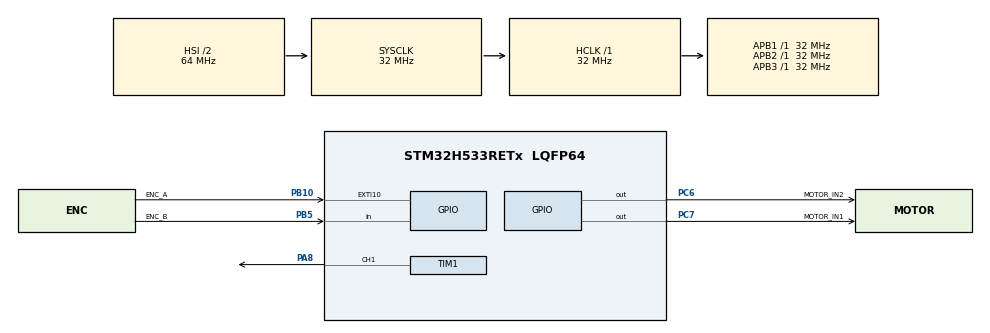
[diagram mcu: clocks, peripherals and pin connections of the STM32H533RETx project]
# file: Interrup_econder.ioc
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BOOTPATH.BootPathName=LEGACY
BOOTPATH.UserSelectedBootPath=LEGACY
CORTEX_M33_NS.Number-Cortex_Memory_Protection_Unit_Region0_OTP_RO_AREAS_Settings=MPU_REGION_NUMBER0
CORTEX_M33_NS.default_mode_Activation=1
CORTEX_M33_NS.userName=CORTEX_M33
Mcu.Family=STM32H5
Mcu.Name=STM32H533RETx
Mcu.Package=LQFP64
NUCLEO-H533RE.BUTTON=1
NUCLEO-H533RE.LD4=true
NUCLEO-H533RE.VCP=true
NVIC.EXTI10_IRQn=true\:0\:0\:false\:false\:true\:true\:true\:true
NVIC.EXTI13_IRQn=true\:0\:0\:false\:false\:true\:false\:true\:true
NVIC.PriorityGroup=NVIC_PRIORITYGROUP_4
NVIC.TIM6_IRQn=true\:0\:0\:false\:false\:true\:true\:true\:true
PA13(JTMS/SWDIO).GPIO_Label=SWDIO
PA13(JTMS/SWDIO).Signal=DEBUG_JTMS-SWDIO
PA14(JTCK/SWCLK).GPIO_Label=SWCLK
PA14(JTCK/SWCLK).Signal=DEBUG_JTCK-SWCLK
PA15(JTDI).GPIO_Label=JTDI
PA15(JTDI).Signal=DEBUG_JTDI
PA2.Signal=USART2_TX
PA3.Signal=USART2_RX
PA8.Signal=S_TIM1_CH1
PB10.GPIO_Label=ENC_A
PB10.GPIO_ModeDefaultEXTI=GPIO_MODE_IT_RISING_FALLING
PB10.Signal=GPXTI10
PB3(JTDO/TRACESWO).GPIO_Label=SWO
PB3(JTDO/TRACESWO).Signal=DEBUG_JTDO-SWO
PB5.GPIO_Label=ENC_B
PB5.GPIO_PuPd=GPIO_NOPULL
PB5.Signal=GPIO_Input
PC6.GPIO_Label=MOTOR_IN2
PC6.Signal=GPIO_Output
PC7.GPIO_Label=MOTOR_IN1
PC7.GPIO_PuPd=GPIO_NOPULL
PC7.Signal=GPIO_Output
ProjectManager.HeapSize=0x200
ProjectManager.StackSize=0x400
ProjectManager.TargetToolchain=CMake
RCC.ADCFreq_Value=32000000
RCC.AHBFreq_Value=32000000
RCC.APB1Freq_Value=32000000
RCC.APB1TimFreq_Value=32000000
RCC.APB2Freq_Value=32000000
RCC.APB2TimFreq_Value=32000000
RCC.APB3Freq_Value=32000000
RCC.CSI_VALUE=4000000
RCC.CortexFreq_Value=32000000
RCC.EPOD_VALUE=4000000
RCC.HCLKFreq_Value=32000000
RCC.HSE_VALUE=25000000
RCC.HSI48_VALUE=48000000
RCC.HSI_VALUE=64000000
RCC.LSE_VALUE=32768
RCC.LSIRC_VALUE=32000
RCC.SYSCLKFreq_VALUE=32000000
RCC.USBFreq_Value=48000000
RCC.VCOOutputFreq_Value=516000000
SH.S_TIM1_CH1.0=TIM1_CH1,PWM Generation1 CH1
TIM1.Channel-PWM\ Generation1\ CH1=TIM_CHANNEL_1
TIM1.PeriodNoDither=999
TIM1.Prescaler=31
TIM6.Prescaler=3199
VP_BOOTPATH_VS_BOOTPATH.Mode=BP_Activate
VP_CORTEX_M33_NS_VS_Hclk.Mode=Hclk_Mode
VP_ICACHE_VS_ICACHE.Mode=DirectMappedCache
VP_MEMORYMAP_VS_MEMORYMAP.Mode=CurAppReg
VP_NUCLEO-H533RE_VS_BSP_COMMON.Mode=COMMON
VP_PWR_VS_LPOM.Mode=PowerOptimisation
VP_PWR_VS_SECSignals.Mode=Security/Privilege
VP_TIM1_VS_ClockSourceINT.Mode=Internal
VP_TIM6_VS_ClockSourceINT.Mode=Enable_Timer
board=NUCLEO-H533RE

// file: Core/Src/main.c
/* USER CODE BEGIN Header */
/**
  ******************************************************************************
  * @file           : main.c
  * @brief          : Main program body
  ******************************************************************************
  * @attention
  *
  * Copyright (c) 2026 STMicroelectronics.
  * All rights reserved.
  *
  * This software is licensed under terms that can be found in the LICENSE file
  * in the root directory of this software component.
  * If no LICENSE file comes with this software, it is provided AS-IS.
  *
  ******************************************************************************
  */
/* USER CODE END Header */
#include "main.h"

/* USER CODE BEGIN PD */
/* --- Encoder y motor (37D 50:1, encoder 64 CPR) --- */
#define ENC_PULSES_PER_MOTOR_REV  16U    /* 1 flanco de 1 canal por vuelta del motor */
#define ENC_EDGES_COUNTED         2U     /* x2: subida y bajada del canal A          */
#define GEAR_RATIO                50U    /* reducción de la caja                     */
#define COUNTS_PER_OUTPUT_REV     (ENC_PULSES_PER_MOTOR_REV * ENC_EDGES_COUNTED * GEAR_RATIO) /* 1600 */
#define SAMPLE_TIME_S             0.1f   /* ventana de TIM6: 100 ms                  */

/* --- prueba y protecciones --- */
#define STEP_TIME_MS      10000U  /* cada 3 s cambia la consigna            */
#define RAMP_TIME_MS      20U    /* arranque suave: 1 % cada 20 ms         */
#define STALL_MIN_DUTY    30     /* a partir de este duty debe moverse     */
#define STALL_SAMPLES     3U     /* 3 ventanas sin pulsos (300 ms) = trabado */
#define ABS(x)            (((x) < 0) ? -(x) : (x))
/* USER CODE END PD */

COM_InitTypeDef BspCOMInit;

TIM_HandleTypeDef htim1;
TIM_HandleTypeDef htim6;

/* USER CODE BEGIN PV */
/* Compartidas con las ISR */
volatile int32_t encoder_count = 0;  /* pasos acumulados (con signo)         */
volatile int32_t delta_counts  = 0;  /* pasos en la última ventana de 100 ms */
volatile float   rpm           = 0;  /* velocidad del eje de salida          */
volatile uint8_t new_sample    = 0;  /* TIM6 avisa que hay un dato nuevo     */

/* Control del motor */
volatile int32_t current_duty = 0;   /* duty aplicado ahora (-100 a 100 %)  */
volatile int32_t target_duty  = 0;   /* consigna hacia la que va la rampa   */
volatile uint8_t stalled      = 0;   /* 1 = se detectó bloqueo              */

static const int32_t profile[] = {30, 60, 100, 0, -60, 0};  /* % ; negativo = reversa */
#define PROFILE_LEN (sizeof(profile) / sizeof(profile[0]))
/* USER CODE END PV */

void SystemClock_Config(void);
static void MPU_Config(void);
static void MX_GPIO_Init(void);
static void MX_ICACHE_Init(void);
static void MX_TIM1_Init(void);
static void MX_TIM6_Init(void);

/* USER CODE BEGIN 0 */
/* El signo es la dirección, la magnitud es la velocidad */
static void Motor_Set(int32_t duty)
{
  if (duty > 100)  { duty = 100; }
  if (duty < -100) { duty = -100; }

  if (duty > 0)        /* adelante: IN1 = 1, IN2 = 0 */
  {
    HAL_GPIO_WritePin(MOTOR_IN1_GPIO_Port, MOTOR_IN1_Pin, GPIO_PIN_SET);
    HAL_GPIO_WritePin(MOTOR_IN2_GPIO_Port, MOTOR_IN2_Pin, GPIO_PIN_RESET);
  }
  else if (duty < 0)   /* reversa: IN1 = 0, IN2 = 1 */
  {
    HAL_GPIO_WritePin(MOTOR_IN1_GPIO_Port, MOTOR_IN1_Pin, GPIO_PIN_RESET);
    HAL_GPIO_WritePin(MOTOR_IN2_GPIO_Port, MOTOR_IN2_Pin, GPIO_PIN_SET);
  }
  else                 /* paro: IN1 = 0, IN2 = 0 */
  {
    HAL_GPIO_WritePin(MOTOR_IN1_GPIO_Port, MOTOR_IN1_Pin, GPIO_PIN_RESET);
    HAL_GPIO_WritePin(MOTOR_IN2_GPIO_Port, MOTOR_IN2_Pin, GPIO_PIN_RESET);
  }

  /* ARR = 999 -> CCR = |duty| x 10 (0 ... 1000) */
  __HAL_TIM_SET_COMPARE(&htim1, TIM_CHANNEL_1, (uint32_t)(ABS(duty) * 10));
}
/* USER CODE END 0 */

int main(void)
{

  /* MCU Configuration--------------------------------------------------------*/

  /* MPU Configuration--------------------------------------------------------*/
  MPU_Config();

  /* Reset of all peripherals, Initializes the Flash interface and the Systick. */
  HAL_Init();

  /* Configure the system clock */
  SystemClock_Config();

  /* Initialize all configured peripherals */
  MX_GPIO_Init();
  MX_ICACHE_Init();
  MX_TIM1_Init();
  MX_TIM6_Init();
  /* USER CODE BEGIN 2 */
  Motor_Set(0);                              /* motor detenido al encender      */
  HAL_TIM_PWM_Start(&htim1, TIM_CHANNEL_1);  /* conecta TIM1 al pin PA8 (ENA)   */
  HAL_TIM_Base_Start_IT(&htim6);             /* interrupción cada 100 ms        */

  uint32_t t_step = HAL_GetTick();
  uint32_t t_ramp = HAL_GetTick();
  uint32_t step_index = 0;
  uint32_t stall_count = 0;
  target_duty = profile[0];
  /* USER CODE END 2 */

  /* Initialize leds */
  BSP_LED_Init(LED_GREEN);

  /* Initialize USER push-button, will be used to trigger an interrupt each time it's pressed.*/
  BSP_PB_Init(BUTTON_USER, BUTTON_MODE_EXTI);

  /* Initialize COM1 port (115200, 8 bits (7-bit data + 1 stop bit), no parity */
  BspCOMInit.BaudRate   = 115200;
  BspCOMInit.WordLength = COM_WORDLENGTH_8B;
  BspCOMInit.StopBits   = COM_STOPBITS_1;
  BspCOMInit.Parity     = COM_PARITY_NONE;
  BspCOMInit.HwFlowCtl  = COM_HWCONTROL_NONE;
  if (BSP_COM_Init(COM1, &BspCOMInit) != BSP_ERROR_NONE)
  {
    Error_Handler();
  }

  /* Infinite loop */
  while (1)
  {

    /* USER CODE BEGIN 3 */
    uint32_t now = HAL_GetTick();

    /* 1. Perfil de prueba: nueva consigna cada 3 s (se congela si hubo bloqueo) */
    if (!stalled && (now - t_step >= STEP_TIME_MS))
    {
      t_step = now;
      step_index = (step_index + 1U) % PROFILE_LEN;
      target_duty = profile[step_index];
    }

    /* 2. Arranque suave: acerca el duty a la consigna 1 % cada 20 ms */
    if (now - t_ramp >= RAMP_TIME_MS)
    {
      t_ramp = now;
      if (current_duty < target_duty)      { current_duty++; }
      else if (current_duty > target_duty) { current_duty--; }
      Motor_Set(current_duty);
    }

    /* 3. Protección: con duty alto pero sin pulsos durante 300 ms -> apagar */
    if (new_sample)
    {
      new_sample = 0;
      if ((ABS(current_duty) >= STALL_MIN_DUTY) && (delta_counts == 0)) { stall_count++; }
      else                                                              { stall_count = 0; }

      if (stall_count >= STALL_SAMPLES)
      {
        stalled = 1;
        target_duty = 0;
        current_duty = 0;
        Motor_Set(0);
      }
    }
  }
  /* USER CODE END 3 */
}

void SystemClock_Config(void)
{
  RCC_OscInitTypeDef RCC_OscInitStruct = {0};
  RCC_ClkInitTypeDef RCC_ClkInitStruct = {0};

  /** Configure the main internal regulator output voltage
  */
  __HAL_PWR_VOLTAGESCALING_CONFIG(PWR_REGULATOR_VOLTAGE_SCALE3);

  while(!__HAL_PWR_GET_FLAG(PWR_FLAG_VOSRDY)) {}

  /** Initializes the RCC Oscillators according to the specified parameters
  * in the RCC_OscInitTypeDef structure.
  */
  RCC_OscInitStruct.OscillatorType = RCC_OSCILLATORTYPE_HSI;
  RCC_OscInitStruct.HSIState = RCC_HSI_ON;
  RCC_OscInitStruct.HSIDiv = RCC_HSI_DIV2;
  RCC_OscInitStruct.HSICalibrationValue = RCC_HSICALIBRATION_DEFAULT;
  RCC_OscInitStruct.PLL.PLLState = RCC_PLL_NONE;
  if (HAL_RCC_OscConfig(&RCC_OscInitStruct) != HAL_OK)
  {
    Error_Handler();
  }

  /** Initializes the CPU, AHB and APB buses clocks
  */
  RCC_ClkInitStruct.ClockType = RCC_CLOCKTYPE_HCLK|RCC_CLOCKTYPE_SYSCLK
                              |RCC_CLOCKTYPE_PCLK1|RCC_CLOCKTYPE_PCLK2
                              |RCC_CLOCKTYPE_PCLK3;
  RCC_ClkInitStruct.SYSCLKSource = RCC_SYSCLKSOURCE_HSI;
  RCC_ClkInitStruct.AHBCLKDivider = RCC_SYSCLK_DIV1;
  RCC_ClkInitStruct.APB1CLKDivider = RCC_HCLK_DIV1;
  RCC_ClkInitStruct.APB2CLKDivider = RCC_HCLK_DIV1;
  RCC_ClkInitStruct.APB3CLKDivider = RCC_HCLK_DIV1;

  if (HAL_RCC_ClockConfig(&RCC_ClkInitStruct, FLASH_LATENCY_1) != HAL_OK)
  {
    Error_Handler();
  }

  /** Configure the programming delay
  */
  __HAL_FLASH_SET_PROGRAM_DELAY(FLASH_PROGRAMMING_DELAY_0);
}

static void MX_ICACHE_Init(void)
{

  /** Enable instruction cache in 1-way (direct mapped cache)
  */
  if (HAL_ICACHE_ConfigAssociativityMode(ICACHE_1WAY) != HAL_OK)
  {
    Error_Handler();
  }
  if (HAL_ICACHE_Enable() != HAL_OK)
  {
    Error_Handler();
  }

}

static void MX_TIM1_Init(void)
{

  TIM_ClockConfigTypeDef sClockSourceConfig = {0};
  TIM_MasterConfigTypeDef sMasterConfig = {0};
  TIM_OC_InitTypeDef sConfigOC = {0};
  TIM_BreakDeadTimeConfigTypeDef sBreakDeadTimeConfig = {0};

  htim1.Instance = TIM1;
  htim1.Init.Prescaler = 31;
  htim1.Init.CounterMode = TIM_COUNTERMODE_UP;
  htim1.Init.Period = 999;
  htim1.Init.ClockDivision = TIM_CLOCKDIVISION_DIV1;
  htim1.Init.RepetitionCounter = 0;
  htim1.Init.AutoReloadPreload = TIM_AUTORELOAD_PRELOAD_DISABLE;
  if (HAL_TIM_Base_Init(&htim1) != HAL_OK)
  {
    Error_Handler();
  }
  sClockSourceConfig.ClockSource = TIM_CLOCKSOURCE_INTERNAL;
  if (HAL_TIM_ConfigClockSource(&htim1, &sClockSourceConfig) != HAL_OK)
  {
    Error_Handler();
  }
  if (HAL_TIM_PWM_Init(&htim1) != HAL_OK)
  {
    Error_Handler();
  }
  sMasterConfig.MasterOutputTrigger = TIM_TRGO_RESET;
  sMasterConfig.MasterOutputTrigger2 = TIM_TRGO2_RESET;
  sMasterConfig.MasterSlaveMode = TIM_MASTERSLAVEMODE_DISABLE;
  if (HAL_TIMEx_MasterConfigSynchronization(&htim1, &sMasterConfig) != HAL_OK)
  {
    Error_Handler();
  }
  sConfigOC.OCMode = TIM_OCMODE_PWM1;
  sConfigOC.Pulse = 0;
  sConfigOC.OCPolarity = TIM_OCPOLARITY_HIGH;
  sConfigOC.OCNPolarity = TIM_OCNPOLARITY_HIGH;
  sConfigOC.OCFastMode = TIM_OCFAST_DISABLE;
  sConfigOC.OCIdleState = TIM_OCIDLESTATE_RESET;
  sConfigOC.OCNIdleState = TIM_OCNIDLESTATE_RESET;
  if (HAL_TIM_PWM_ConfigChannel(&htim1, &sConfigOC, TIM_CHANNEL_1) != HAL_OK)
  {
    Error_Handler();
  }
  sBreakDeadTimeConfig.OffStateRunMode = TIM_OSSR_DISABLE;
  sBreakDeadTimeConfig.OffStateIDLEMode = TIM_OSSI_DISABLE;
  sBreakDeadTimeConfig.LockLevel = TIM_LOCKLEVEL_OFF;
  sBreakDeadTimeConfig.DeadTime = 0;
  sBreakDeadTimeConfig.BreakState = TIM_BREAK_DISABLE;
  sBreakDeadTimeConfig.BreakPolarity = TIM_BREAKPOLARITY_HIGH;
  sBreakDeadTimeConfig.BreakFilter = 0;
  sBreakDeadTimeConfig.BreakAFMode = TIM_BREAK_AFMODE_INPUT;
  sBreakDeadTimeConfig.Break2State = TIM_BREAK2_DISABLE;
  sBreakDeadTimeConfig.Break2Polarity = TIM_BREAK2POLARITY_HIGH;
  sBreakDeadTimeConfig.Break2Filter = 0;
  sBreakDeadTimeConfig.Break2AFMode = TIM_BREAK_AFMODE_INPUT;
  sBreakDeadTimeConfig.AutomaticOutput = TIM_AUTOMATICOUTPUT_DISABLE;
  if (HAL_TIMEx_ConfigBreakDeadTime(&htim1, &sBreakDeadTimeConfig) != HAL_OK)
  {
    Error_Handler();
  }
  HAL_TIM_MspPostInit(&htim1);

}

static void MX_TIM6_Init(void)
{

  TIM_MasterConfigTypeDef sMasterConfig = {0};

  htim6.Instance = TIM6;
  htim6.Init.Prescaler = 3199;
  htim6.Init.CounterMode = TIM_COUNTERMODE_UP;
  htim6.Init.Period = 65535;
  htim6.Init.AutoReloadPreload = TIM_AUTORELOAD_PRELOAD_DISABLE;
  if (HAL_TIM_Base_Init(&htim6) != HAL_OK)
  {
    Error_Handler();
  }
  sMasterConfig.MasterOutputTrigger = TIM_TRGO_RESET;
  sMasterConfig.MasterSlaveMode = TIM_MASTERSLAVEMODE_DISABLE;
  if (HAL_TIMEx_MasterConfigSynchronization(&htim6, &sMasterConfig) != HAL_OK)
  {
    Error_Handler();
  }

}

static void MX_GPIO_Init(void)
{
  GPIO_InitTypeDef GPIO_InitStruct = {0};

  /* GPIO Ports Clock Enable */
  __HAL_RCC_GPIOB_CLK_ENABLE();
  __HAL_RCC_GPIOC_CLK_ENABLE();
  __HAL_RCC_GPIOA_CLK_ENABLE();

  /*Configure GPIO pin Output Level */
  HAL_GPIO_WritePin(GPIOC, MOTOR_IN2_Pin|MOTOR_IN1_Pin, GPIO_PIN_RESET);

  /*Configure GPIO pin : ENC_A_Pin */
  GPIO_InitStruct.Pin = ENC_A_Pin;
  GPIO_InitStruct.Mode = GPIO_MODE_IT_RISING_FALLING;
  GPIO_InitStruct.Pull = GPIO_NOPULL;
  HAL_GPIO_Init(ENC_A_GPIO_Port, &GPIO_InitStruct);

  /*Configure GPIO pins : MOTOR_IN2_Pin MOTOR_IN1_Pin */
  GPIO_InitStruct.Pin = MOTOR_IN2_Pin|MOTOR_IN1_Pin;
  GPIO_InitStruct.Mode = GPIO_MODE_OUTPUT_PP;
  GPIO_InitStruct.Pull = GPIO_NOPULL;
  GPIO_InitStruct.Speed = GPIO_SPEED_FREQ_LOW;
  HAL_GPIO_Init(GPIOC, &GPIO_InitStruct);

  /*Configure GPIO pin : ENC_B_Pin */
  GPIO_InitStruct.Pin = ENC_B_Pin;
  GPIO_InitStruct.Mode = GPIO_MODE_INPUT;
  GPIO_InitStruct.Pull = GPIO_NOPULL;
  HAL_GPIO_Init(ENC_B_GPIO_Port, &GPIO_InitStruct);

  /* EXTI interrupt init*/
  HAL_NVIC_SetPriority(EXTI10_IRQn, 0, 0);
  HAL_NVIC_EnableIRQ(EXTI10_IRQn);

}

/* USER CODE BEGIN 4 */
/* ---- EXTI10 (PB10 = canal A): una ejecución por flanco ---- */
void HAL_GPIO_EXTI_Rising_Callback(uint16_t GPIO_Pin)
{
  if (GPIO_Pin == ENC_A_Pin)
  {
    /* Subida de A: si B = 0 avanza, si B = 1 retrocede */
    if (HAL_GPIO_ReadPin(ENC_B_GPIO_Port, ENC_B_Pin) == GPIO_PIN_RESET) { encoder_count++; }
    else                                                               { encoder_count--; }
  }
}

void HAL_GPIO_EXTI_Falling_Callback(uint16_t GPIO_Pin)
{
  if (GPIO_Pin == ENC_A_Pin)
  {
    /* Bajada de A: la lógica se invierte */
    if (HAL_GPIO_ReadPin(ENC_B_GPIO_Port, ENC_B_Pin) == GPIO_PIN_SET) { encoder_count++; }
    else                                                             { encoder_count--; }
  }
}

/* ---- TIM6: cada 100 ms convierte pasos en RPM ---- */
void HAL_TIM_PeriodElapsedCallback(TIM_HandleTypeDef *htim)
{
  if (htim->Instance == TIM6)
  {
    static int32_t last_count = 0;
    int32_t now_count = encoder_count;        /* foto del contador     */
    delta_counts = now_count - last_count;    /* pasos en esta ventana */
    last_count   = now_count;

    /* RPM = (pasos / 1600) vueltas / 0.1 s x 60 */
    rpm = ((float)delta_counts / (float)COUNTS_PER_OUTPUT_REV) / SAMPLE_TIME_S * 60.0f;
    new_sample = 1;
  }
}
/* USER CODE END 4 */

 /* MPU Configuration */

void MPU_Config(void)
{
  MPU_Region_InitTypeDef MPU_InitStruct = {0};
  MPU_Attributes_InitTypeDef MPU_AttributesInit = {0};

  /* Disables the MPU */
  HAL_MPU_Disable();

  /** Initializes and configures the Region 0 and the memory to be protected
  */
  MPU_InitStruct.Enable = MPU_REGION_ENABLE;
  MPU_InitStruct.Number = MPU_REGION_NUMBER0;
  MPU_InitStruct.BaseAddress = 0x08FFF000;
  MPU_InitStruct.LimitAddress = 0x08FFFFFF;
  MPU_InitStruct.AttributesIndex = MPU_ATTRIBUTES_NUMBER0;
  MPU_InitStruct.AccessPermission = MPU_REGION_ALL_RO;
  MPU_InitStruct.DisableExec = MPU_INSTRUCTION_ACCESS_DISABLE;
  MPU_InitStruct.IsShareable = MPU_ACCESS_NOT_SHAREABLE;

  HAL_MPU_ConfigRegion(&MPU_InitStruct);

  /** Initializes and configures the Attribute 0 and the memory to be protected
  */
  MPU_AttributesInit.Number = MPU_ATTRIBUTES_NUMBER0;
  MPU_AttributesInit.Attributes = INNER_OUTER(MPU_NOT_CACHEABLE);

  HAL_MPU_ConfigMemoryAttributes(&MPU_AttributesInit);
  /* Enables the MPU */
  HAL_MPU_Enable(MPU_PRIVILEGED_DEFAULT);

}

void Error_Handler(void)
{
  __disable_irq();
  while (1)
  {
  }
}
